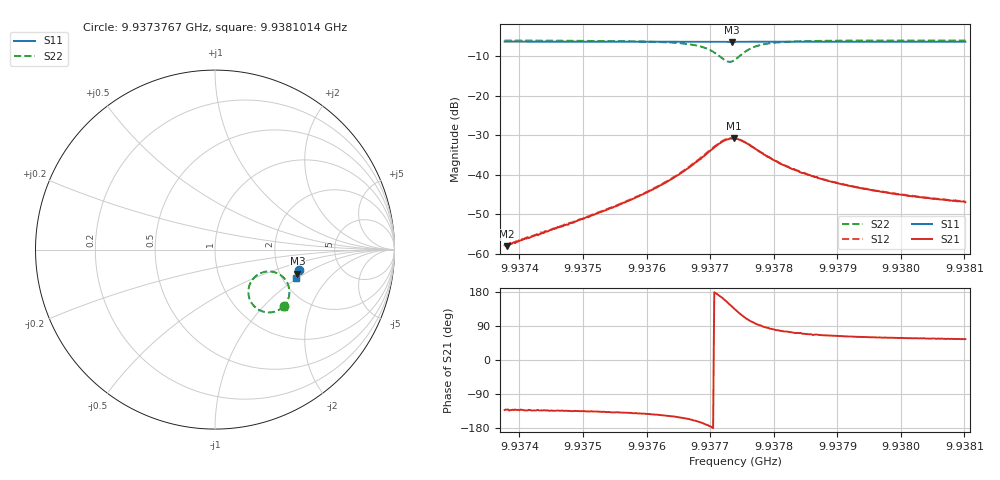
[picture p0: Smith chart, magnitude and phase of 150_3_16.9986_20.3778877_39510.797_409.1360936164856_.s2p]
#  HZ  S  RI  R  50.00
! Rohde & Schwarz Vector Network Analyzer
! Rohde-Schwarz,ZNB20-2Port,1311601062101988,3.16
! Created: UTC 3/20/2024, 10:58:49 PM
! freq[Hz]  re:S11  im:S11  re:S21  im:S21  re:S12  im:S12  re:S22  im:S22
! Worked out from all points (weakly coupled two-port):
!   401 points, 9.9373767 GHz to 9.9381014 GHz, reference 50 ohm
!   highest |S21| = -30.83 dB at 9.9377372 GHz (marker M1); lowest = -58.1 dB at 9.9373803 GHz (marker M2)
!   lowest |S11| = -6.4 dB at 9.9377336 GHz (marker M3), VSWR 2.83, Z = 124 - j43 ohm
!   |S11| at or under -10 dB: nowhere
!   |S22| runs from -11.5 to -6.0 dB; largest |S21 - S12| = 0.0015
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9.93737666e9  0.4701 -0.1113  -0.00086 -0.000953  -0.000857 -0.000943  0.3835 -0.3162
9.93738028e9  0.4702 -0.1117  -0.000822 -0.000939  -0.000865 -0.000966  0.383 -0.3165
9.93749806e9  0.4674 -0.1196  -0.00193 -0.00193  -0.002 -0.0019  0.3676 -0.329
9.93755423e9  0.4662 -0.1235  -0.00301 -0.00273  -0.00313 -0.00272  0.3551 -0.3365
9.93761945e9  0.4644 -0.1278  -0.00586 -0.00412  -0.00602 -0.0041  0.3274 -0.347
9.93765569e9  0.4631 -0.1305  -0.0095 -0.00492  -0.0098 -0.00484  0.2952 -0.3501
9.93769193e9  0.4614 -0.1328  -0.0173 -0.00336  -0.0179 -0.00308  0.2319 -0.3277
9.93770461e9  0.4607 -0.1334  -0.0214 -0.000101  -0.0221 0.00041  0.2029 -0.296
9.9377173e9  0.4598 -0.1336  -0.0249 0.00613  -0.0253 0.00711  0.1858 -0.2397
9.93772636e9  0.4594 -0.1334  -0.0249 0.0124  -0.0249 0.0138  0.1961 -0.1885
9.9377336e9  0.4593 -0.1334  -0.0227 0.0175  -0.0222 0.0189  0.2227 -0.1519
9.93773723e9  0.4596 -0.1332  -0.0208 0.0199  -0.0202 0.021  0.241 -0.138
9.93773904e9  0.4595 -0.1332  -0.0199 0.0206  -0.0191 0.0218  0.2508 -0.1327
9.9377481e9  0.4599 -0.1333  -0.0139 0.0236  -0.013 0.0242  0.3017 -0.1217
9.93776078e9  0.4605 -0.134  -0.00633 0.0232  -0.00557 0.0236  0.3584 -0.1374
9.9377789e9  0.461 -0.1354  -0.000367 0.0194  0.000298 0.0193  0.3989 -0.1775
9.93781152e9  0.4607 -0.1382  0.00307 0.0133  0.00359 0.0133  0.4148 -0.2307
9.93783326e9  0.4604 -0.14  0.00364 0.011  0.00399 0.0108  0.4139 -0.2518
9.93786044e9  0.4598 -0.1418  0.00381 0.00886  0.00376 0.0088  0.4104 -0.269
9.93791479e9  0.4585 -0.1456  0.00344 0.0065  0.00358 0.0065  0.4019 -0.2898
9.93798183e9  0.4567 -0.1502  0.00306 0.00502  0.00313 0.005  0.3938 -0.3042
9.93810142e9  0.4536 -0.1581  0.00256 0.00368  0.00267 0.00369  0.3825 -0.3194
